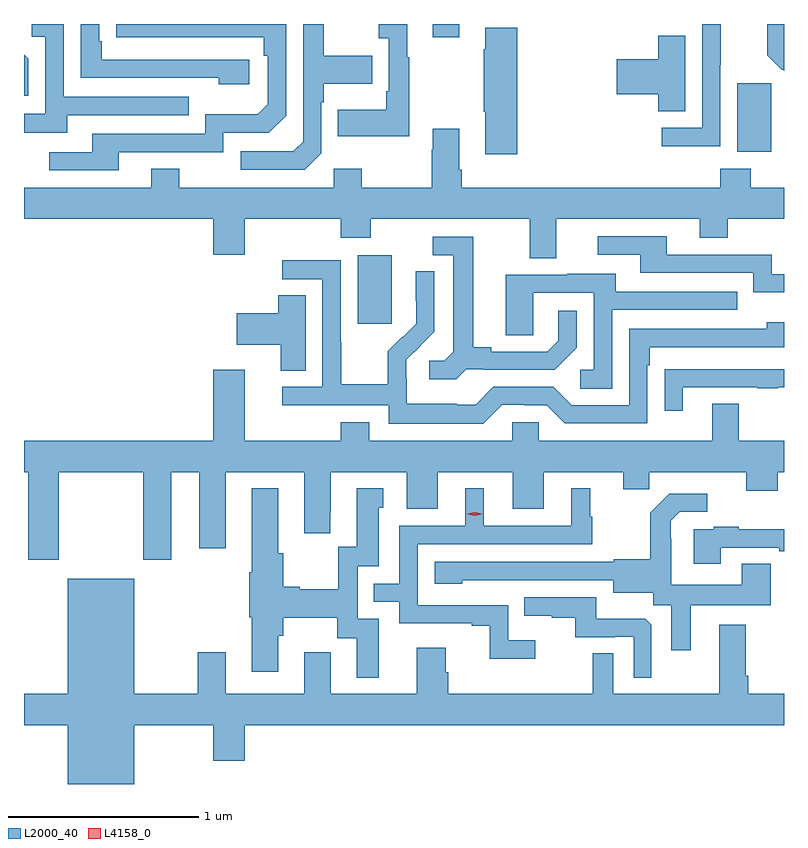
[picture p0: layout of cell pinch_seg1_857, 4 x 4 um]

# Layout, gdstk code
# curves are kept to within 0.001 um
import gdstk
lib = gdstk.Library(unit=1e-6, precision=1e-09)
def R(c, l, rs):  # rectangles x0, y0, x1, y1
    for r in rs: c.add(gdstk.rectangle(r[:2], r[2:], *l))
def P(c, l, *ps):  # polygons
    for p in ps: c.add(gdstk.Polygon(p, *l))
L2000_40 = (2000, 40)
L4158_0 = (4158, 0)

pinch_seg1_857 = lib.new_cell('pinch_seg1_857')
R(pinch_seg1_857, L2000_40, [(597.335,533.865,597.514,534.226), (599.333,534.77,599.512,535.131), (597.731,535.371,597.871,535.442)])
P(pinch_seg1_857, L2000_40, [(596.764,535.254),(595.987,535.254),(595.987,535.351),(595.974,535.351),(595.974,535.442),(595.878,535.442),(595.878,535.158),(596.603,535.158),(596.603,535.124),(596.764,535.124)],
  [(595.807,534.963),(596.447,534.963),(596.447,535.059),(595.788,535.059),(595.788,535.442),(595.62,535.442),(595.62,535.374),(595.692,535.374),(595.692,534.969),(595.579,534.969),(595.579,534.869),(595.807,534.869)],
  [(597.607,535.267),(597.595,535.267),(597.595,535.442),(597.447,535.442),(597.447,535.367),(597.498,535.367),(597.498,535.087),(597.486,535.087),(597.486,534.991),(597.229,534.991),(597.229,534.851),(597.607,534.851)],
  [(596.077,534.768),(596.628,534.768),(596.628,534.87),(596.868,534.87),(596.958,534.96),(596.958,535.442),(596.065,535.442),(596.065,535.372),(596.842,535.371),(596.842,535.274),(596.862,535.274),(596.862,535.02),(596.809,534.967),(596.532,534.967),(596.532,534.864),(595.937,534.864),(595.937,534.768),(595.713,534.768),(595.713,534.672),(596.077,534.672)],
  [(597.144,534.762),(597.144,535.031),(597.157,535.031),(597.157,535.127),(597.413,535.127),(597.413,535.275),(597.157,535.275),(597.157,535.442),(597.048,535.442),(597.048,534.822),(596.997,534.771),(596.721,534.771),(596.721,534.675),(597.057,534.675)],
  [(599.579,535.442),(599.491,535.442),(599.491,535.277),(599.568,535.2),(599.571,535.203),(599.579,535.195)],
  [(599.244,535.228),(599.247,535.228),(599.247,535.442),(599.148,535.442),(599.148,534.897),(598.935,534.897),(598.935,534.799),(599.244,534.799)],
  [(598.175,535.423),(598.007,535.423),(598.007,535.31),(598,535.31),(598,534.979),(598.007,534.979),(598.007,534.756),(598.175,534.756)],
  [(599.059,535.379),(598.916,535.379),(598.916,535.256),(598.698,535.256),(598.698,535.073),(598.916,535.073),(598.916,534.982),(599.059,534.982)],
  [(595.602,535.258),(595.579,535.281),(595.579,535.065),(595.602,535.065)],
  [(597.884,534.676),(597.871,534.676),(597.871,534.892),(597.731,534.892),(597.731,534.779),(597.724,534.779),(597.724,534.58),(597.357,534.58),(597.357,534.679),(597.21,534.679),(597.21,534.58),(596.397,534.58),(596.397,534.679),(596.249,534.679),(596.249,534.58),(595.579,534.58),(595.579,534.416),(596.576,534.416),(596.576,534.228),(596.74,534.228),(596.74,534.416),(597.245,534.416),(597.245,534.317),(597.405,534.317),(597.405,534.416),(598.241,534.416),(598.241,534.208),(598.381,534.208),(598.381,534.416),(599.135,534.416),(599.135,534.317),(599.283,534.317),(599.283,534.416),(599.579,534.416),(599.579,534.58),(599.403,534.58),(599.403,534.679),(599.243,534.679),(599.243,534.58),(597.884,534.58)],
  [(599.579,534.126),(599.514,534.126),(599.514,534.228),(598.963,534.228),(598.963,534.324),(598.599,534.324),(598.599,534.228),(598.823,534.228),(598.823,534.132),(599.418,534.132),(599.418,534.029),(599.579,534.029)],
  [(597.906,533.625),(598,533.625),(598,533.622),(598.372,533.622),(598.488,533.738),(598.488,533.932),(598.391,533.932),(598.391,533.775),(598.334,533.718),(598.039,533.718),(598.039,533.741),(597.943,533.741),(597.943,534.321),(597.729,534.321),(597.729,534.225),(597.839,534.225),(597.839,533.717),(597.792,533.67),(597.711,533.67),(597.711,533.573),(597.854,533.573)],
  [(598.095,533.439),(598.211,533.439),(598.211,533.436),(598.329,533.436),(598.425,533.34),(598.86,533.34),(598.86,533.645),(598.873,533.645),(598.873,533.742),(599.579,533.742),(599.579,533.872),(599.489,533.872),(599.489,533.838),(598.764,533.838),(598.764,533.436),(598.461,533.436),(598.365,533.532),(598.05,533.532),(597.957,533.439),(597.857,533.439),(597.857,533.443),(597.594,533.443),(597.594,533.577),(597.592,533.577),(597.592,533.674),(597.738,533.822),(597.738,534.14),(597.642,534.14),(597.642,533.986),(597.644,533.986),(597.644,533.864),(597.573,533.793),(597.57,533.796),(597.493,533.719),(597.493,533.545),(597.249,533.545),(597.249,533.768),(597.246,533.768),(597.246,534.198),(596.937,534.198),(596.937,534.099),(597.15,534.099),(597.15,533.532),(596.937,533.532),(596.937,533.436),(597.498,533.436),(597.498,533.339),(597.995,533.339)],
  [(598.674,533.937),(599.333,533.937),(599.333,534.033),(598.693,534.033),(598.693,534.127),(598.439,534.127),(598.439,534.123),(598.115,534.123),(598.115,533.803),(598.26,533.803),(598.26,534.027),(598.578,534.027),(598.578,533.622),(598.506,533.622),(598.506,533.521),(598.674,533.521)],
  [(597.061,534.014),(596.918,534.014),(596.918,533.919),(596.7,533.919),(596.7,533.753),(596.93,533.753),(596.93,533.617),(597.061,533.617)],
  [(599.047,533.529),(599.437,533.529),(599.437,533.524),(599.549,533.524),(599.549,533.529),(599.579,533.529),(599.579,533.625),(599.053,533.625),(599.053,533.624),(598.951,533.624),(598.951,533.406),(599.047,533.406)],
  [(595.761,533.084),(596.206,533.084),(596.206,532.623),(596.353,532.623),(596.353,533.084),(596.501,533.084),(596.501,532.683),(596.641,532.683),(596.641,533.084),(597.053,533.084),(597.053,532.761),(597.19,532.761),(597.19,532.873),(597.193,532.873),(597.193,533.084),(597.593,533.084),(597.593,532.89),(597.757,532.89),(597.757,533.084),(598.151,533.084),(598.151,532.89),(598.315,532.89),(598.315,533.084),(598.733,533.084),(598.733,532.994),(598.871,532.994),(598.871,533.084),(599.381,533.084),(599.381,532.985),(599.545,532.985),(599.545,533.084),(599.579,533.084),(599.579,533.248),(599.341,533.248),(599.341,533.443),(599.201,533.443),(599.201,533.248),(598.287,533.248),(598.287,533.346),(598.149,533.346),(598.149,533.248),(597.397,533.248),(597.397,533.347),(597.245,533.347),(597.245,533.248),(596.74,533.248),(596.74,533.623),(596.576,533.623),(596.576,533.248),(595.579,533.248),(595.579,533.084),(595.601,533.084),(595.601,532.623),(595.761,532.623)],
  [(597.445,532.311),(597.336,532.311),(597.336,532.587),(597.445,532.587),(597.445,532.896),(597.469,532.896),(597.469,532.999),(597.329,532.999),(597.329,532.692),(597.233,532.692),(597.233,532.468),(597.031,532.468),(597.031,532.481),(596.943,532.481),(596.943,532.657),(596.917,532.657),(596.917,532.999),(596.777,532.999),(596.777,532.557),(596.765,532.557),(596.765,532.32),(596.777,532.32),(596.777,532.032),(596.917,532.032),(596.917,532.221),(596.943,532.221),(596.943,532.316),(597.228,532.316),(597.228,532.21),(597.329,532.21),(597.329,532.002),(597.445,532.002)],
  [(598.27,532.198),(598.128,532.198),(598.128,532.383),(597.651,532.383),(597.651,532.704),(598.57,532.704),(598.57,532.848),(598.558,532.848),(598.558,532.999),(598.46,532.999),(598.46,532.8),(598,532.8),(598,532.999),(597.902,532.999),(597.902,532.8),(597.555,532.8),(597.555,532.497),(597.421,532.497),(597.421,532.401),(597.555,532.401),(597.555,532.287),(597.935,532.287),(597.935,532.275),(598.03,532.275),(598.03,532.1),(598.27,532.1)],
  [(599.089,532.382),(599.509,532.382),(599.509,532.601),(599.357,532.601),(599.357,532.492),(598.986,532.492),(598.986,532.733),(598.984,532.733),(598.984,532.828),(599.031,532.875),(599.176,532.875),(599.176,532.969),(598.975,532.969),(598.875,532.869),(598.875,532.624),(598.683,532.624),(598.683,532.611),(597.741,532.611),(597.741,532.496),(597.885,532.496),(597.885,532.514),(598.679,532.515),(598.679,532.448),(598.89,532.448),(598.89,532.384),(598.985,532.384),(598.985,532.146),(599.089,532.146)],
  [(599.245,532.686),(599.555,532.686),(599.555,532.668),(599.579,532.668),(599.579,532.784),(599.341,532.784),(599.341,532.795),(599.209,532.795),(599.209,532.782),(599.105,532.782),(599.105,532.602),(599.245,532.602)],
  [(596.158,531.752),(596.576,531.752),(596.576,531.564),(596.74,531.564),(596.74,531.752),(599.579,531.752),(599.579,531.916),(599.39,531.916),(599.39,532.012),(599.377,532.012),(599.377,532.279),(599.237,532.279),(599.237,531.916),(598.68,531.916),(598.68,532.13),(598.572,532.13),(598.572,531.916),(597.812,531.916),(597.812,532.029),(597.799,532.029),(597.799,532.159),(597.647,532.159),(597.647,531.916),(597.193,531.916),(597.193,532.135),(597.053,532.135),(597.053,531.916),(596.641,531.916),(596.641,532.135),(596.494,532.135),(596.494,531.916),(596.158,531.916),(596.158,532.522),(595.808,532.522),(595.808,531.916),(595.579,531.916),(595.579,531.752),(595.808,531.752),(595.808,531.442),(596.158,531.442)],
  [(598.881,532.281),(598.849,532.313),(598.591,532.313),(598.591,532.425),(598.213,532.425),(598.213,532.328),(598.357,532.328),(598.357,532.317),(598.481,532.317),(598.481,532.215),(598.688,532.215),(598.688,532.218),(598.788,532.218),(598.788,532.001),(598.881,532.001)])
P(pinch_seg1_857, L4158_0, [(597.951,532.853),(597.915,532.863),(597.915,532.863),(597.915,532.864),(597.951,532.873),(597.987,532.864),(597.987,532.863),(597.987,532.863)])

lib.write_gds('pinch_seg1_857.gds')
